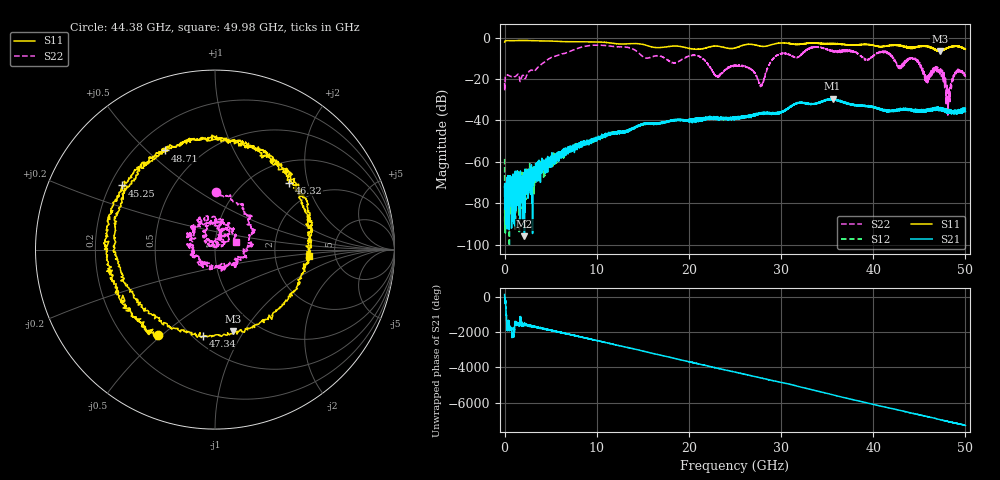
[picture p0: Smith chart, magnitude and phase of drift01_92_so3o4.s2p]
!Created with skrf (http://scikit-rf.org).
# Hz S RI R 50.0
!freq ReS11 ImS11 ReS21 ImS21 ReS12 ImS12 ReS22 ImS22
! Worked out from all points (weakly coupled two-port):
!   10001 points, 300 kHz to 50 GHz, reference 50 ohm
!   highest |S21| = -29.46 dB at 35.59 GHz (marker M1); lowest = -96.1 dB at 2.155 GHz (marker M2)
!   lowest |S11| = -6.6 dB at 47.21 GHz (marker M3), VSWR 2.74, Z = 38.6 - j44.8 ohm
!   |S11| at or under -10 dB: nowhere
!   |S22| runs from -37.4 to -3.6 dB; largest |S21 - S12| = 0.004
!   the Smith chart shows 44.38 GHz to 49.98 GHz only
!   S11 on the Smith chart (normalised r, x): 44.38 GHz: 0.34, -0.48; 45.25 GHz: 0.25, +0.29; 46.32 GHz: 1.42, +1.54; 47.34 GHz: 0.56, -0.71; 48.71 GHz: 0.32, +0.57; 49.98 GHz: 3.16, -0.33
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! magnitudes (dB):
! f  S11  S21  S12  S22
! 300 kHz  -2.1  -71.8  -58.6  -21.9
! 255.3 MHz  -1.4  -78.5  -79.9  -18.0
! 2.155 GHz  -1.4  -96.1  -70.9  -19.5
! 8.335 GHz  -2.0  -50.6  -52.3  -4.6
! 16.67 GHz  -4.8  -41.3  -41.2  -8.7
! 20.97 GHz  -5.6  -39.4  -39.7  -8.8
! 23.08 GHz  -4.1  -39.1  -38.8  -18.8
! 25 GHz  -5.0  -38.7  -39.0  -13.6
! 27.84 GHz  -4.2  -36.6  -36.7  -23.1
! 29.47 GHz  -2.8  -36.4  -36.5  -8.8
! 33.34 GHz  -2.6  -32.3  -31.9  -4.8
! 35.59 GHz  -2.8  -29.5  -29.6  -6.5
! 41.67 GHz  -3.9  -35.3  -35.5  -7.5
! 44.38 GHz  -4.9  -34.8  -35.1  -9.9
! 45.25 GHz  -4.0  -35.7  -35.0  -14.4
! 46.32 GHz  -5.1  -34.6  -34.6  -17.0
! 47.21 GHz  -6.6  -34.4  -34.8  -16.6
! 47.34 GHz  -6.3  -34.4  -34.6  -15.5
! 48.13 GHz  -4.9  -35.5  -34.8  -37.1
! 48.71 GHz  -4.2  -35.5  -35.5  -18.4
! 49.98 GHz  -5.6  -34.3  -35.1  -18.2
! 50 GHz  -5.6  -35.8  -34.1  -18.5
